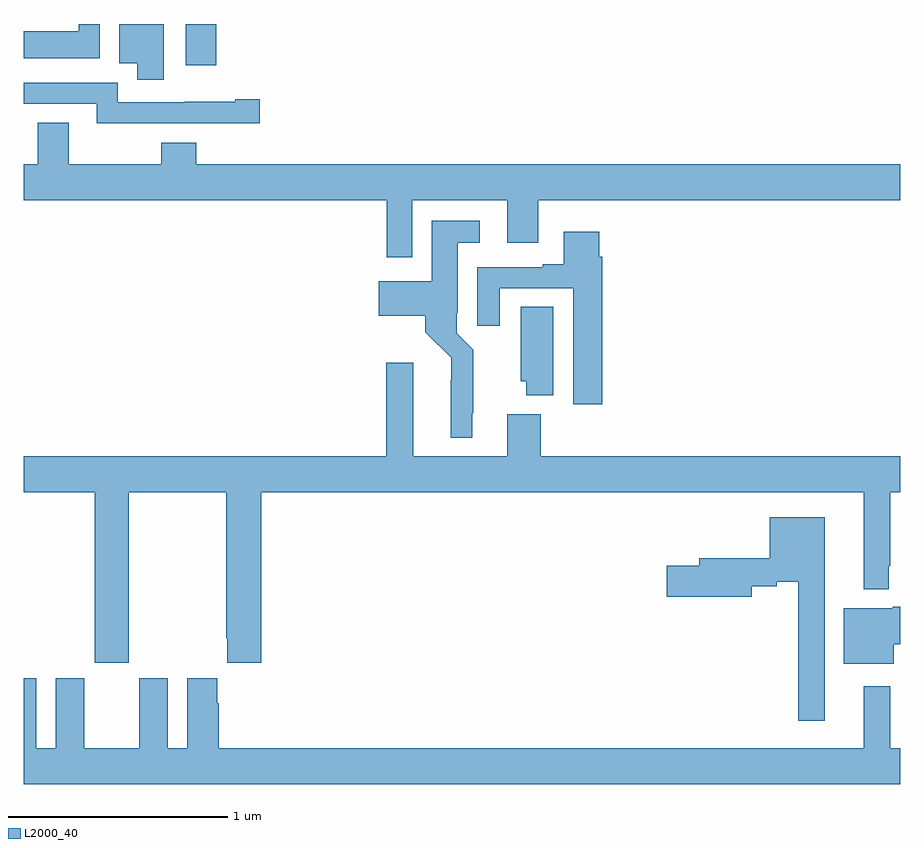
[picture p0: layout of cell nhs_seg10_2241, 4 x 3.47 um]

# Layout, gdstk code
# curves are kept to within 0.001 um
import gdstk
lib = gdstk.Library(unit=1e-6, precision=1e-09)
def R(c, l, rs):  # rectangles x0, y0, x1, y1
    for r in rs: c.add(gdstk.rectangle(r[:2], r[2:], *l))
def P(c, l, *ps):  # polygons
    for p in ps: c.add(gdstk.Polygon(p, *l))
L2000_40 = (2000, 40)

nhs_seg10_2241 = lib.new_cell('nhs_seg10_2241')
R(nhs_seg10_2241, L2000_40, [(231.74,1254.312,231.878,1254.5)])
P(nhs_seg10_2241, L2000_40, [(231.64,1254.5),(231.437,1254.5),(231.437,1254.32),(231.518,1254.32),(231.518,1254.246),(231.64,1254.246)],
  [(231.348,1254.5),(231.252,1254.5),(231.252,1254.466),(231,1254.466),(231,1254.344),(231.348,1254.344)],
  [(231.539,1254.048),(232.078,1254.048),(232.078,1254.157),(231.965,1254.157),(231.965,1254.145),(231.736,1254.145),(231.736,1254.144),(231.429,1254.144),(231.429,1254.231),(231,1254.231),(231,1254.135),(231.333,1254.135),(231.333,1254.047),(231.539,1254.047)],
  [(232.773,1253.696),(233.207,1253.696),(233.207,1253.502),(233.347,1253.502),(233.347,1253.696),(235,1253.696),(235,1253.86),(231.788,1253.86),(231.788,1253.959),(231.628,1253.959),(231.628,1253.86),(231.205,1253.86),(231.205,1254.05),(231.065,1254.05),(231.065,1253.86),(231,1253.86),(231,1253.696),(232.657,1253.696),(232.657,1253.436),(232.773,1253.436)],
  [(233.047,1252.723),(233.051,1252.723),(233.051,1253.014),(232.977,1253.088),(232.977,1253.182),(232.981,1253.182),(232.981,1253.501),(233.08,1253.501),(233.08,1253.602),(232.862,1253.602),(232.862,1253.326),(232.62,1253.326),(232.62,1253.168),(232.832,1253.168),(232.832,1253.094),(232.95,1252.976),(232.949,1252.613),(233.047,1252.613)],
  [(233.639,1253.438),(233.626,1253.438),(233.626,1253.551),(233.465,1253.551),(233.465,1253.404),(233.369,1253.404),(233.369,1253.391),(233.069,1253.391),(233.069,1253.124),(233.173,1253.124),(233.173,1253.295),(233.507,1253.295),(233.507,1252.764),(233.639,1252.764)],
  [(233.416,1253.21),(233.267,1253.21),(233.267,1252.869),(233.294,1252.869),(233.294,1252.805),(233.416,1252.805)],
  [(231.48,1252.364),(231.925,1252.364),(231.925,1251.697),(231.929,1251.697),(231.929,1251.585),(232.085,1251.585),(232.085,1252.364),(234.833,1252.364),(234.833,1251.92),(234.947,1251.92),(234.947,1252.027),(234.955,1252.027),(234.955,1252.364),(235,1252.364),(235,1252.528),(233.36,1252.528),(233.36,1252.72),(233.207,1252.72),(233.207,1252.528),(232.777,1252.528),(232.777,1252.954),(232.655,1252.954),(232.655,1252.528),(231,1252.528),(231,1252.364),(231.325,1252.364),(231.325,1251.585),(231.48,1251.585)],
  [(234.655,1252.249),(234.404,1252.249),(234.404,1252.063),(234.083,1252.063),(234.083,1252.029),(233.934,1252.029),(233.934,1251.887),(234.322,1251.887),(234.322,1251.934),(234.437,1251.934),(234.437,1251.954),(234.534,1251.954),(234.534,1251.321),(234.655,1251.321)],
  [(234.97,1251.67),(235,1251.67),(235,1251.841),(234.966,1251.841),(234.966,1251.835),(234.743,1251.835),(234.743,1251.581),(234.97,1251.581)],
  [(235,1251.196),(234.955,1251.196),(234.955,1251.478),(234.833,1251.478),(234.833,1251.196),(231.89,1251.196),(231.89,1251.401),(231.883,1251.401),(231.883,1251.514),(231.746,1251.514),(231.746,1251.196),(231.658,1251.196),(231.658,1251.514),(231.527,1251.514),(231.527,1251.196),(231.277,1251.196),(231.277,1251.514),(231.146,1251.514),(231.146,1251.196),(231.058,1251.196),(231.058,1251.514),(231,1251.514),(231,1251.032),(235,1251.032)])

lib.write_gds('nhs_seg10_2241.gds')
